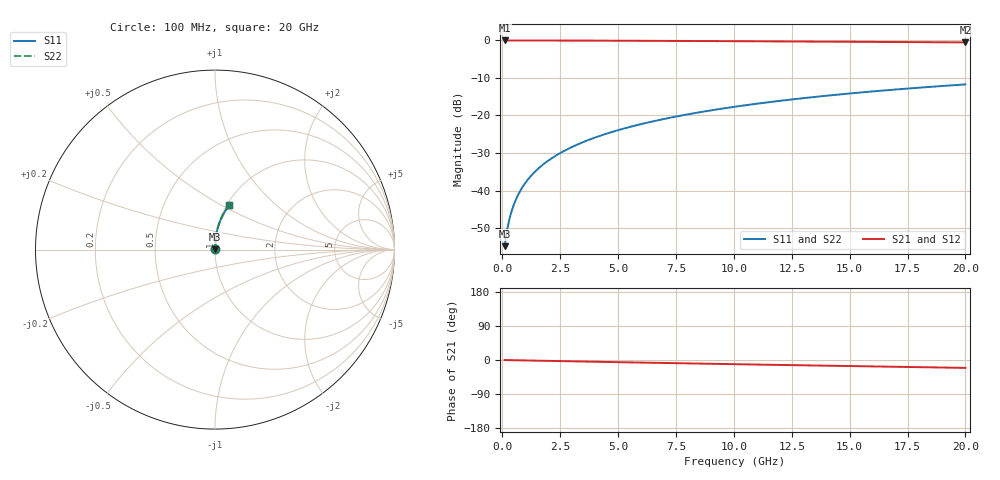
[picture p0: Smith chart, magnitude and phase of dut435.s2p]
! Touchstone file exported from HFSS 2024.1.0
!  File:  C:/UserFiles/LocalFiles/RDL_TSV_Batchsim/temp_RDL_top_435_1779676517.aedt
!  Generated:  10:37:43 AM May 25, 2026
!  Design:  RDL_top
!  Project:  temp_RDL_top_435_1779676517
!  Setup:  Setup1
!  Solution:  Sweep
! Variables:
!  dtsv = 10.80580581um
!  hbump = 3um
!  htsv = 66.49um
!  ldown = 100um
!  lrdl = 226.16um
!  p = 40
!  p1 = 58.88um
!  rhole = 1um
!  t = 450um
!  tdown = 3.915915916um
!  trdl = 4.24um
!  wdown = 15.38538539um
!  wrdl = 17.07um
# GHz S MA R 50.000000
! Terminal data exported
! Port[1] = Box2_T1
! Port[2] = Box2_T2
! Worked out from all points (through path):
!   200 points, 100 MHz to 20 GHz, reference 50 ohm
!   highest |S21| = -0.01 dB at 100 MHz (marker M1); lowest = -0.5 dB at 20 GHz (marker M2)
!   group delay of S21, straight-line fit = 2.87 ps
!   lowest |S11| = -54.8 dB at 100 MHz (marker M3), VSWR 1.00, Z = 50.1 + j0.131 ohm
!   |S11| at or under -10 dB: start of sweep to end of sweep
!   |S22| runs from -54.8 to -11.7 dB; largest |S21 - S12| = 4.6e-15
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0.1  0.001817 46.2  0.9987 -0.1  0.9987 -0.1  0.001817 46.2
! Gamma 0 0 0 0
! Port Impedance 50 0 50 0
0.2  0.002904 63.4  0.9987 -0.2  0.9987 -0.2  0.002904 63.4
0.3  0.004085 70.8  0.9986 -0.4  0.9986 -0.4  0.004085 70.8
0.4  0.005292 74.9  0.9986 -0.5  0.9986 -0.5  0.005292 74.9
0.5  0.006512 77.6  0.9985 -0.6  0.9985 -0.6  0.006512 77.6
0.7  0.008974 80.7  0.9984 -0.8  0.9984 -0.8  0.008974 80.7
0.8  0.01021 81.7  0.9983 -0.9  0.9983 -0.9  0.01021 81.7
1  0.0127 83.1  0.9982 -1.2  0.9982 -1.2  0.0127 83.1
1.2  0.0152 84.1  0.998 -1.4  0.998 -1.4  0.0152 84.1
1.4  0.01771 84.7  0.9979 -1.6  0.9979 -1.6  0.01771 84.7
1.7  0.02148 85.4  0.9975 -2.0  0.9975 -2.0  0.02148 85.4
2  0.02526 85.8  0.9972 -2.3  0.9972 -2.3  0.02526 85.8
2.7  0.03412 86.2  0.9961 -3.2  0.9961 -3.2  0.03412 86.2
3.5  0.04434 86.3  0.9946 -4.1  0.9946 -4.1  0.04434 86.3
4.2  0.05335 86.2  0.9931 -4.9  0.9931 -4.9  0.05335 86.2
5  0.06375 85.9  0.9912 -5.7  0.9912 -5.7  0.06375 85.9
6.8  0.08747 84.8  0.9863 -7.7  0.9863 -7.7  0.08747 84.8
8.3  0.1075 83.7  0.9818 -9.3  0.9818 -9.3  0.1075 83.7
10.1  0.1316 82.1  0.9762 -11.1  0.9762 -11.1  0.1316 82.1
13.4  0.1755 78.9  0.9653 -14.5  0.9653 -14.5  0.1755 78.9
16.7  0.2183 75.5  0.9535 -17.7  0.9535 -17.7  0.2183 75.5
20  0.2594 72.2  0.9409 -20.8  0.9409 -20.8  0.2594 72.2
